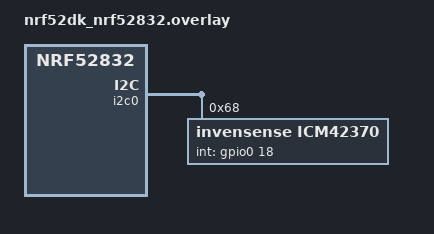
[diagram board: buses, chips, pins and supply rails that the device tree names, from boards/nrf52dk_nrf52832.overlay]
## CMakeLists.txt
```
#
# Copyright (c) 2024 TDK Invensense
#
# SPDX-License-Identifier: Apache-2.0
#

cmake_minimum_required(VERSION 3.20.0)
find_package(Zephyr REQUIRED HINTS $ENV{ZEPHYR_BASE})
project(icm42370)

FILE(GLOB app_sources src/*.c)
target_sources(app PRIVATE ${app_sources})
```

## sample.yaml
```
#
# Copyright (c) 2024 TDK Invensense
#
# SPDX-License-Identifier: Apache-2.0
#

sample:
  name: ICM42370 Sensor Sample
tests:
  sample.sensor.icm42370:
    build_only: true
    depends_on: i2c
    platform_allow: nrf52dk/nrf52832
    integration_platforms:
      - nrf52dk/nrf52832
    tags: sensors
```

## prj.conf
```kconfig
#
# Copyright (c) 2019 Nordic Semiconductor ASA
#
# SPDX-License-Identifier: Apache-2.0
#

CONFIG_I2C=y
CONFIG_SENSOR=y
CONFIG_CBPRINTF_FP_SUPPORT=y
```

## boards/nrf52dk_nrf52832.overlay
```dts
/*
 * Copyright (c) 2024 TDK Invensense
 *
 * SPDX-License-Identifier: Apache-2.0
 */

&i2c0 {
        icm42370@68 {
                compatible = "invensense,icm42370";
                status = "okay";
                reg = <0x68>;
                int-gpios = <&gpio0 18 GPIO_ACTIVE_HIGH>;
        };
};
```

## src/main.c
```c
/*
 * Copyright (c) 2024 TDK Invensense
 *
 * SPDX-License-Identifier: Apache-2.0
 */

#include <zephyr/kernel.h>
#include <zephyr/device.h>
#include <zephyr/drivers/sensor.h>
#include <stdio.h>

static const char *now_str(void)
{
	static char buf[16]; /* ...HH:MM:SS.MMM */
	uint32_t now = k_uptime_get_32();
	unsigned int ms = now % MSEC_PER_SEC;
	unsigned int s;
	unsigned int min;
	unsigned int h;

	now /= MSEC_PER_SEC;
	s = now % 60U;
	now /= 60U;
	min = now % 60U;
	now /= 60U;
	h = now;

	snprintf(buf, sizeof(buf), "%u:%02u:%02u.%03u",
		 h, min, s, ms);
	return buf;
}

static int process_icm42370(const struct device *dev)
{
	struct sensor_value temperature;
	struct sensor_value accel[3];
	int rc = sensor_sample_fetch(dev);

	if (rc == 0) {
		rc = sensor_channel_get(dev, SENSOR_CHAN_ACCEL_XYZ,
					accel);
	}

	if (rc == 0) {
		rc = sensor_channel_get(dev, SENSOR_CHAN_DIE_TEMP,
					&temperature);
	}

	if (rc == 0) {
		printf("[%s]:%g Cel\n  accel %f %f %f m/s/s\n",
		       now_str(),
		       sensor_value_to_double(&temperature),
		       sensor_value_to_double(&accel[0]),
		       sensor_value_to_double(&accel[1]),
		       sensor_value_to_double(&accel[2]));
	} else {
		printf("sample fetch/get failed: %d\n", rc);
	}

	return rc;
}

static struct sensor_trigger data_trigger;
static struct sensor_trigger motion_trigger;

static void handle_icm42370_drdy(const struct device *dev,
				 const struct sensor_trigger *trig)
{
	int rc = process_icm42370(dev);

	if (rc != 0) {
		printf("cancelling trigger due to failure: %d\n", rc);
		(void)sensor_trigger_set(dev, trig, NULL);
		return;
	}
}

static void handle_icm42370_motion(const struct device *dev,
					const struct sensor_trigger *trig)
{
	printf("motion detected!\n");
}

int main(void)
{
	const struct device *const icm42370 = DEVICE_DT_GET_ONE(invensense_icm42370);

	if (!device_is_ready(icm42370)) {
		printk("sensor icm42370: device not ready.\n");
		return 0;
	}
	motion_trigger = (struct sensor_trigger) {
		.type = SENSOR_TRIG_MOTION,
		.chan = SENSOR_CHAN_ALL,
	};

	if (sensor_trigger_set(icm42370, &motion_trigger,
				handle_icm42370_motion) < 0) {
		printf("Cannot configure motion trigger!!!\n");
		return 0;
	}

	data_trigger = (struct sensor_trigger) {
		.type = SENSOR_TRIG_DATA_READY,
		.chan = SENSOR_CHAN_ALL,
	};

	if (sensor_trigger_set(icm42370, &data_trigger,
				handle_icm42370_drdy) < 0) {
		printf("Cannot configure data trigger!!!\n");
		return 0;
	}

	printf("Configured for triggered sampling.\n");
	return 0;
}
```
